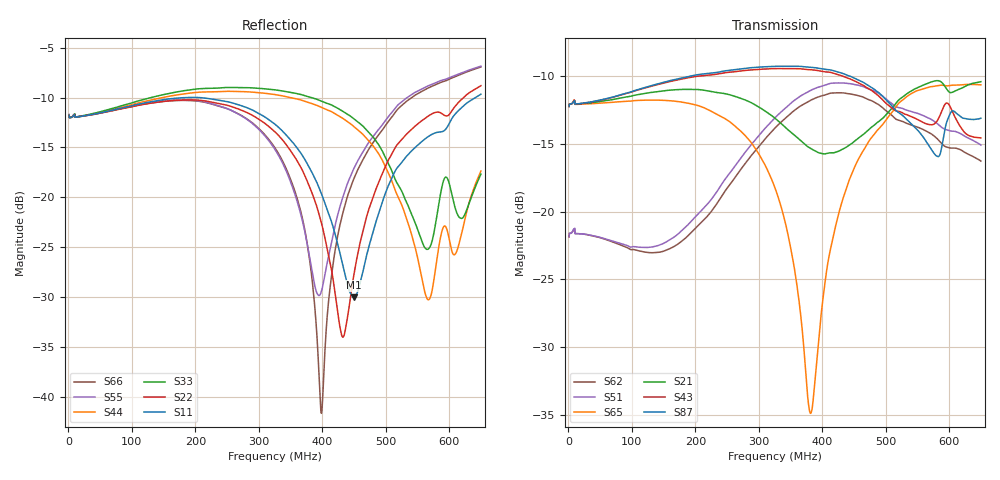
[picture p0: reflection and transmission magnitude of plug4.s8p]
!Agilent Technologies,M9370A,MY54322275,A.02.50.04
!Agilent M9370A: A.02.50.04
!Date: Friday, August 17, 2018 13:01:19
!Correction: S11(Full 8 Port(1,2,3,4,5,6,7,8))
!S12(Full 8 Port(1,2,3,4,5,6,7,8))
!S13(Full 8 Port(1,2,3,4,5,6,7,8))
!S14(Full 8 Port(1,2,3,4,5,6,7,8))
!S15(Full 8 Port(1,2,3,4,5,6,7,8))
!S16(Full 8 Port(1,2,3,4,5,6,7,8))
!S17(Full 8 Port(1,2,3,4,5,6,7,8))
!S18(Full 8 Port(1,2,3,4,5,6,7,8))
!S21(Full 8 Port(1,2,3,4,5,6,7,8))
!S22(Full 8 Port(1,2,3,4,5,6,7,8))
!S23(Full 8 Port(1,2,3,4,5,6,7,8))
!S24(Full 8 Port(1,2,3,4,5,6,7,8))
!S25(Full 8 Port(1,2,3,4,5,6,7,8))
!S26(Full 8 Port(1,2,3,4,5,6,7,8))
!S27(Full 8 Port(1,2,3,4,5,6,7,8))
!S28(Full 8 Port(1,2,3,4,5,6,7,8))
!S31(Full 8 Port(1,2,3,4,5,6,7,8))
!S32(Full 8 Port(1,2,3,4,5,6,7,8))
!S33(Full 8 Port(1,2,3,4,5,6,7,8))
!S34(Full 8 Port(1,2,3,4,5,6,7,8))
!S35(Full 8 Port(1,2,3,4,5,6,7,8))
!S36(Full 8 Port(1,2,3,4,5,6,7,8))
!S37(Full 8 Port(1,2,3,4,5,6,7,8))
!S38(Full 8 Port(1,2,3,4,5,6,7,8))
!S41(Full 8 Port(1,2,3,4,5,6,7,8))
!S42(Full 8 Port(1,2,3,4,5,6,7,8))
!S43(Full 8 Port(1,2,3,4,5,6,7,8))
!S44(Full 8 Port(1,2,3,4,5,6,7,8))
!S45(Full 8 Port(1,2,3,4,5,6,7,8))
!S46(Full 8 Port(1,2,3,4,5,6,7,8))
!S47(Full 8 Port(1,2,3,4,5,6,7,8))
!S48(Full 8 Port(1,2,3,4,5,6,7,8))
!S51(Full 8 Port(1,2,3,4,5,6,7,8))
!S52(Full 8 Port(1,2,3,4,5,6,7,8))
!S53(Full 8 Port(1,2,3,4,5,6,7,8))
!S54(Full 8 Port(1,2,3,4,5,6,7,8))
!S55(Full 8 Port(1,2,3,4,5,6,7,8))
!S56(Full 8 Port(1,2,3,4,5,6,7,8))
!S57(Full 8 Port(1,2,3,4,5,6,7,8))
!S58(Full 8 Port(1,2,3,4,5,6,7,8))
!S61(Full 8 Port(1,2,3,4,5,6,7,8))
!S62(Full 8 Port(1,2,3,4,5,6,7,8))
!S63(Full 8 Port(1,2,3,4,5,6,7,8))
!S64(Full 8 Port(1,2,3,4,5,6,7,8))
!S65(Full 8 Port(1,2,3,4,5,6,7,8))
!S66(Full 8 Port(1,2,3,4,5,6,7,8))
!S67(Full 8 Port(1,2,3,4,5,6,7,8))
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# Hz S  RI  R 50
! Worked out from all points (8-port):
!   1601 points, 1 MHz to 650 MHz, reference 50 ohm
!   strongest paths, dB at 1 MHz, 163.2 MHz, 325.5 MHz, 487.8 MHz, 650 MHz:
!     S87: -12.2, -10.3, -9.2, -11.2, -13.1
!     S43: -12.2, -10.3, -9.4, -11.4, -14.5
!     S21: -12.2, -11.0, -13.1, -13.4, -10.4
!     S65: -12.2, -11.8, -18.2, -13.9, -10.6
!     S51: -21.8, -22.0, -13.0, -11.2, -15.1
!     S62: -21.9, -22.6, -13.8, -12.0, -16.3
!   lowest |S11| = -30.0 dB at 450 MHz (marker M1), VSWR 1.07, Z = 47 - j0.723 ohm
!   |S11| at or under -10 dB: start of sweep to 185.2 MHz; 207.3 MHz to 641.4 MHz (434.1 MHz wide, 102 % of centre)
